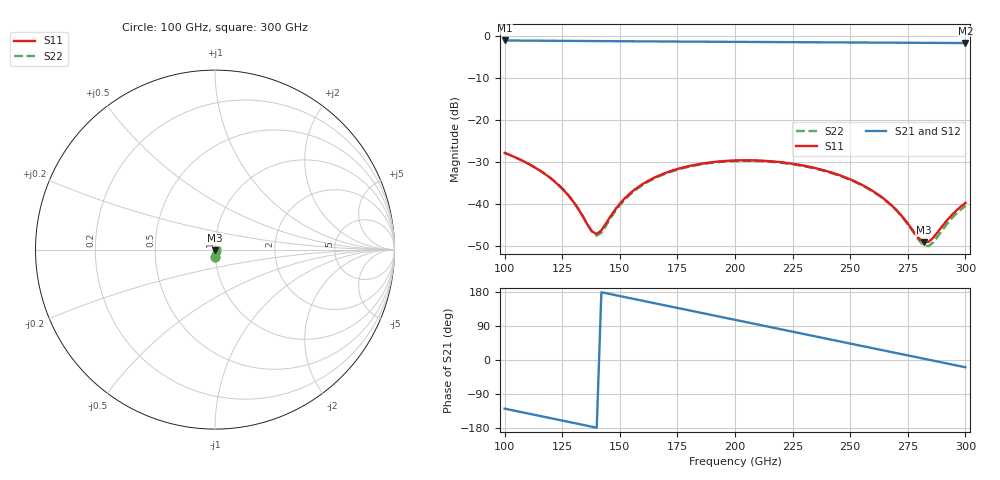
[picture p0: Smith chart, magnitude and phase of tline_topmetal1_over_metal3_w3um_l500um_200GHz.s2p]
#  GHZ S DB R 50
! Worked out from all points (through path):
!   101 points, 100 GHz to 300 GHz, reference 50 ohm
!   highest |S21| = -0.96 dB at 100 GHz (marker M1); lowest = -1.6 dB at 300 GHz (marker M2)
!   group delay of S21, straight-line fit = 3.48 ps
!   lowest |S11| = -49.1 dB at 282 GHz (marker M3), VSWR 1.01, Z = 50.1 - j0.319 ohm
!   |S11| at or under -10 dB: start of sweep to end of sweep
!   |S22| runs from -50.1 to -27.8 dB; largest |S21 - S12| = 1.5e-13
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100  -27.81 -91.7  -0.96 -128.3  -0.96 -128.3  -27.79 -91.8
110  -30.31 -101.7  -1.00 -140.9  -1.00 -140.9  -30.27 -101.9
120  -33.88 -109.5  -1.04 -153.5  -1.04 -153.5  -33.81 -110.0
128  -38.19 -110.9  -1.07 -163.6  -1.07 -163.6  -38.07 -111.9
134  -43.04 -100.5  -1.09 -171.1  -1.09 -171.1  -42.90 -102.9
138  -46.59 -74.5  -1.10 -176.2  -1.10 -176.2  -46.69 -78.7
140  -47.17 -53.2  -1.11 -178.7  -1.11 -178.7  -47.54 -57.2
142  -46.30 -33.2  -1.12 178.8  -1.12 178.8  -46.85 -35.8
148  -41.32 -6.4  -1.14 171.3  -1.14 171.3  -41.73 -6.4
154  -37.68 -2.6  -1.16 163.7  -1.16 163.7  -37.96 -2.2
168  -32.98 -11.0  -1.20 146.2  -1.20 146.2  -33.16 -10.6
184  -30.51 -27.1  -1.25 126.1  -1.25 126.1  -30.66 -26.7
200  -29.60 -44.9  -1.30 106.0  -1.30 106.0  -29.75 -44.5
216  -29.81 -63.0  -1.34 86.0  -1.34 86.0  -29.95 -62.6
234  -31.33 -83.0  -1.39 63.4  -1.39 63.4  -31.46 -82.7
254  -35.12 -103.0  -1.45 38.4  -1.45 38.4  -35.25 -102.9
268  -40.34 -110.2  -1.49 20.9  -1.49 20.9  -40.44 -111.0
282  -49.15 -65.9  -1.53 3.4  -1.53 3.4  -49.90 -70.4
284  -49.04 -48.7  -1.54 0.9  -1.54 0.9  -50.07 -51.9
286  -48.07 -34.2  -1.54 -1.6  -1.54 -1.6  -49.18 -35.3
294  -42.69 -10.9  -1.56 -11.6  -1.56 -11.6  -43.48 -9.1
300  -39.76 -9.7  -1.58 -19.1  -1.58 -19.1  -40.43 -7.7
